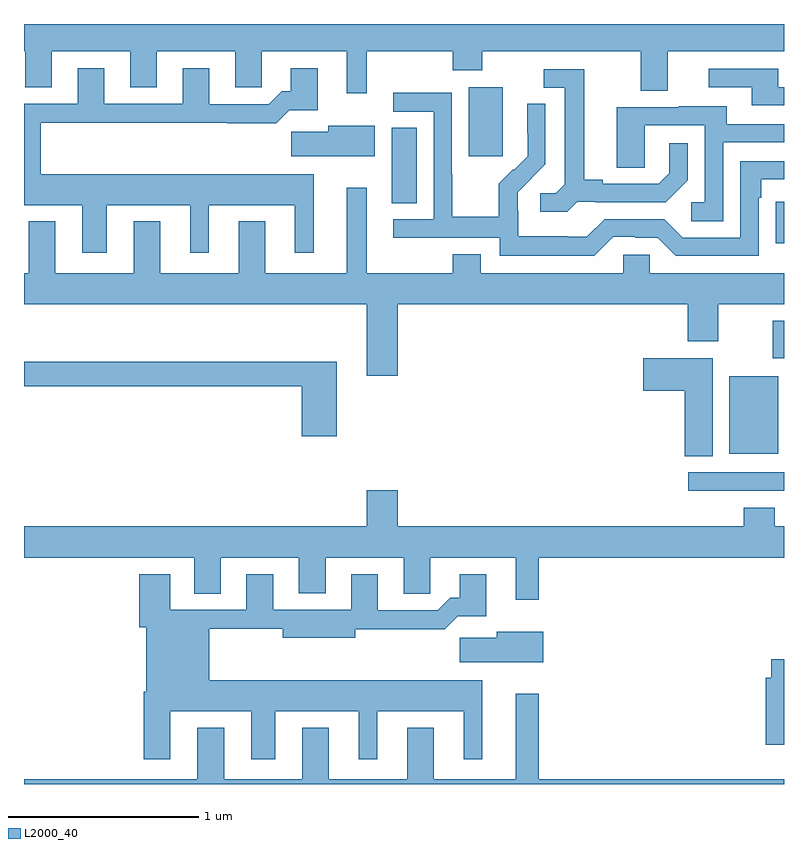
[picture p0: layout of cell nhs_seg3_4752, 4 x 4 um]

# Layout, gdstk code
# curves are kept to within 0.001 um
import gdstk
lib = gdstk.Library(unit=1e-6, precision=1e-09)
def R(c, l, rs):  # rectangles x0, y0, x1, y1
    for r in rs: c.add(gdstk.rectangle(r[:2], r[2:], *l))
def P(c, l, *ps):  # polygons
    for p in ps: c.add(gdstk.Polygon(p, *l))
L2000_40 = (2000, 40)

nhs_seg3_4752 = lib.new_cell('nhs_seg3_4752')
R(nhs_seg3_4752, L2000_40, [(370.497,691.944,371,692.04), (370.712,692.138,370.969,692.545), (370.942,692.64,371,692.839), (370.957,693.246,371,693.464), (368.936,693.457,369.067,693.854), (369.341,693.705,369.52,694.066)])
P(nhs_seg3_4752, L2000_40, [(369.256,694.157),(369.411,694.157),(369.411,694.256),(370.247,694.256),(370.247,694.048),(370.387,694.048),(370.387,694.256),(371,694.256),(371,694.4),(367,694.4),(367,694.256),(367.007,694.256),(367.007,694.066),(367.147,694.066),(367.147,694.256),(367.559,694.256),(367.559,694.066),(367.699,694.066),(367.699,694.256),(368.111,694.256),(368.111,694.066),(368.25,694.066),(368.25,694.256),(368.699,694.256),(368.699,694.035),(368.803,694.035),(368.803,694.256),(369.256,694.256)],
  [(367.435,693.446),(367.874,693.446),(367.874,693.195),(367.972,693.195),(367.972,693.446),(368.426,693.446),(368.426,693.195),(368.524,693.195),(368.524,693.61),(367.087,693.61),(367.087,693.88),(368.071,693.88),(368.071,693.878),(368.327,693.878),(368.396,693.947),(368.545,693.947),(368.545,694.168),(368.405,694.168),(368.405,694.045),(368.356,694.045),(368.289,693.978),(367.975,693.978),(367.975,694.168),(367.835,694.168),(367.835,693.981),(367.423,693.981),(367.423,694.168),(367.283,694.168),(367.283,693.981),(367,693.981),(367,693.446),(367.307,693.446),(367.307,693.195),(367.435,693.195)],
  [(371,694.068),(370.969,694.068),(370.969,694.164),(370.605,694.164),(370.605,694.068),(370.829,694.068),(370.829,693.972),(371,693.972)],
  [(369.912,693.465),(370.006,693.465),(370.006,693.462),(370.378,693.462),(370.494,693.578),(370.494,693.772),(370.397,693.772),(370.397,693.615),(370.34,693.558),(370.045,693.558),(370.045,693.581),(369.949,693.581),(369.949,694.161),(369.735,694.161),(369.735,694.065),(369.845,694.065),(369.845,693.557),(369.798,693.51),(369.717,693.51),(369.717,693.413),(369.86,693.413)],
  [(370.101,693.279),(370.217,693.279),(370.217,693.276),(370.335,693.276),(370.431,693.18),(370.866,693.18),(370.866,693.485),(370.879,693.485),(370.879,693.582),(371,693.582),(371,693.678),(370.77,693.678),(370.77,693.276),(370.467,693.276),(370.371,693.372),(370.056,693.372),(369.963,693.279),(369.863,693.279),(369.863,693.283),(369.6,693.283),(369.6,693.417),(369.598,693.417),(369.598,693.514),(369.744,693.662),(369.744,693.98),(369.648,693.98),(369.648,693.826),(369.65,693.826),(369.65,693.704),(369.579,693.633),(369.576,693.636),(369.499,693.559),(369.499,693.385),(369.255,693.385),(369.255,693.608),(369.252,693.608),(369.252,694.038),(368.943,694.038),(368.943,693.939),(369.156,693.939),(369.156,693.372),(368.943,693.372),(368.943,693.276),(369.504,693.276),(369.504,693.179),(370.001,693.179)],
  [(370.68,693.777),(371,693.777),(371,693.873),(370.699,693.873),(370.699,693.967),(370.445,693.967),(370.445,693.963),(370.121,693.963),(370.121,693.643),(370.266,693.643),(370.266,693.867),(370.584,693.867),(370.584,693.462),(370.512,693.462),(370.512,693.361),(370.68,693.361)],
  [(368.845,693.865),(368.6,693.865),(368.6,693.833),(368.406,693.833),(368.406,693.704),(368.845,693.704)],
  [(368.968,692.924),(370.493,692.924),(370.493,692.73),(370.653,692.73),(370.653,692.924),(371,692.924),(371,693.088),(370.293,693.088),(370.293,693.186),(370.155,693.186),(370.155,693.088),(369.403,693.088),(369.403,693.187),(369.256,693.187),(369.256,693.088),(368.803,693.088),(368.803,693.538),(368.699,693.538),(368.699,693.088),(368.269,693.088),(368.269,693.361),(368.129,693.361),(368.129,693.088),(367.717,693.088),(367.717,693.361),(367.577,693.361),(367.577,693.088),(367.165,693.088),(367.165,693.361),(367.025,693.361),(367.025,693.088),(367,693.088),(367,692.924),(368.804,692.924),(368.804,692.55),(368.968,692.55)],
  [(370.624,692.641),(370.26,692.641),(370.26,692.471),(370.478,692.471),(370.478,692.125),(370.624,692.125)],
  [(368.645,692.623),(367,692.623),(367,692.494),(368.462,692.494),(368.462,692.229),(368.645,692.229)],
  [(368.968,691.945),(368.804,691.945),(368.804,691.756),(367,691.756),(367,691.592),(367.895,691.592),(367.895,691.402),(368.035,691.402),(368.035,691.592),(368.447,691.592),(368.447,691.403),(368.587,691.403),(368.587,691.592),(368.999,691.592),(368.999,691.402),(369.138,691.402),(369.138,691.592),(369.587,691.592),(369.587,691.371),(369.709,691.371),(369.709,691.592),(371,691.592),(371,691.756),(370.952,691.756),(370.952,691.855),(370.787,691.855),(370.787,691.756),(368.968,691.756)],
  [(367.771,690.782),(368.195,690.782),(368.195,690.531),(368.323,690.531),(368.323,690.782),(368.762,690.782),(368.762,690.531),(368.86,690.531),(368.86,690.782),(369.314,690.782),(369.314,690.531),(369.412,690.531),(369.412,690.946),(367.975,690.946),(367.975,691.216),(368.363,691.216),(368.363,691.169),(368.743,691.169),(368.743,691.214),(369.215,691.214),(369.284,691.283),(369.433,691.283),(369.433,691.504),(369.293,691.504),(369.293,691.381),(369.244,691.381),(369.177,691.314),(368.863,691.314),(368.863,691.504),(368.723,691.504),(368.723,691.318),(368.311,691.317),(368.311,691.504),(368.171,691.504),(368.171,691.317),(367.771,691.317),(367.771,691.504),(367.607,691.504),(367.607,691.224),(367.643,691.224),(367.643,690.886),(367.631,690.886),(367.631,690.531),(367.771,690.531)],
  [(369.733,691.201),(369.488,691.201),(369.488,691.169),(369.294,691.169),(369.294,691.04),(369.733,691.04)],
  [(371,691.056),(370.934,691.056),(370.934,690.958),(370.904,690.958),(370.904,690.606),(371,690.606)],
  [(371,690.424),(369.709,690.424),(369.709,690.874),(369.587,690.874),(369.587,690.424),(369.157,690.424),(369.157,690.697),(369.017,690.697),(369.017,690.424),(368.605,690.424),(368.605,690.697),(368.465,690.697),(368.465,690.424),(368.053,690.424),(368.053,690.697),(367.913,690.697),(367.913,690.424),(367,690.424),(367,690.4),(371,690.4)])

lib.write_gds('nhs_seg3_4752.gds')
